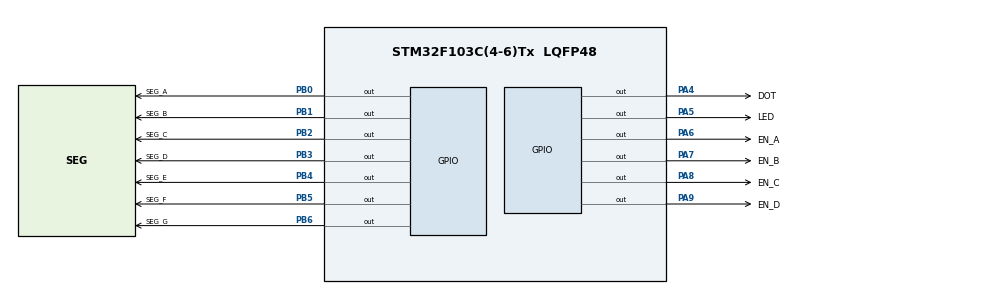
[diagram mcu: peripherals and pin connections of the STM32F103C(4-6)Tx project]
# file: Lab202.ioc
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Mcu.Family=STM32F1
Mcu.Name=STM32F103C(4-6)Tx
Mcu.Package=LQFP48
NVIC.PriorityGroup=NVIC_PRIORITYGROUP_4
NVIC.TIM2_IRQn=true\:0\:0\:false\:false\:true\:true\:true\:true
PA4.GPIO_Label=DOT
PA4.Signal=GPIO_Output
PA5.GPIO_Label=LED
PA5.Signal=GPIO_Output
PA6.GPIO_Label=EN_A
PA6.Signal=GPIO_Output
PA7.GPIO_Label=EN_B
PA7.Signal=GPIO_Output
PA8.GPIO_Label=EN_C
PA8.Signal=GPIO_Output
PA9.GPIO_Label=EN_D
PA9.Signal=GPIO_Output
PB0.GPIO_Label=SEG_A
PB0.Signal=GPIO_Output
PB1.GPIO_Label=SEG_B
PB1.Signal=GPIO_Output
PB2.GPIO_Label=SEG_C
PB2.Signal=GPIO_Output
PB3.GPIO_Label=SEG_D
PB3.Signal=GPIO_Output
PB4.GPIO_Label=SEG_E
PB4.Signal=GPIO_Output
PB5.GPIO_Label=SEG_F
PB5.Signal=GPIO_Output
PB6.GPIO_Label=SEG_G
PB6.Signal=GPIO_Output
ProjectManager.HeapSize=0x200
ProjectManager.StackSize=0x400
ProjectManager.TargetToolchain=STM32CubeIDE
RCC.APB1Freq_Value=8000000
RCC.APB2Freq_Value=8000000
TIM2.Period=2
TIM2.Prescaler=7999
VP_TIM2_VS_ClockSourceINT.Mode=Internal
board=custom

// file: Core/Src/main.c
/* USER CODE BEGIN Header */
/**
  ******************************************************************************
  * @file           : main.c
  * @brief          : Main program body
  ******************************************************************************
  * @attention
  *
  * Copyright (c) 2022 STMicroelectronics.
  * All rights reserved.
  *
  * This software is licensed under terms that can be found in the LICENSE file
  * in the root directory of this software component.
  * If no LICENSE file comes with this software, it is provided AS-IS.
  *
  ******************************************************************************
  */
/* USER CODE END Header */
#include "main.h"
#include "7seg.h"

TIM_HandleTypeDef htim2;

void SystemClock_Config(void);
static void MX_GPIO_Init(void);
static void MX_TIM2_Init(void);

/* USER CODE BEGIN 0 */
void HAL_TIM_PeriodElapsedCallback(TIM_HandleTypeDef *htim);

typedef enum State {One, Two, Three, Four} EState;
void tswitch (EState state) {
	if (state == One) {
		HAL_GPIO_WritePin(EN_A_GPIO_Port,EN_A_Pin, 0);
		HAL_GPIO_WritePin(EN_B_GPIO_Port, EN_B_Pin, 1);
		HAL_GPIO_WritePin(EN_C_GPIO_Port, EN_C_Pin, 1);
		HAL_GPIO_WritePin(EN_D_GPIO_Port, EN_D_Pin, 1);
	}
	if (state == Two){
		HAL_GPIO_WritePin(EN_A_GPIO_Port, EN_A_Pin, 1);
		HAL_GPIO_WritePin(EN_B_GPIO_Port, EN_B_Pin, 0);
		HAL_GPIO_WritePin(EN_D_GPIO_Port, EN_C_Pin, 1);
		HAL_GPIO_WritePin(EN_D_GPIO_Port, EN_D_Pin, 1);
	}
	if (state == Three){
			HAL_GPIO_WritePin(EN_A_GPIO_Port, EN_A_Pin, 1);
			HAL_GPIO_WritePin(EN_B_GPIO_Port, EN_B_Pin, 1);
			HAL_GPIO_WritePin(EN_D_GPIO_Port, EN_C_Pin, 0);
			HAL_GPIO_WritePin(EN_D_GPIO_Port, EN_D_Pin, 1);
		}
	if (state == Four){
			HAL_GPIO_WritePin(EN_A_GPIO_Port, EN_A_Pin, 1);
			HAL_GPIO_WritePin(EN_B_GPIO_Port, EN_B_Pin, 1);
			HAL_GPIO_WritePin(EN_D_GPIO_Port, EN_C_Pin, 1);
			HAL_GPIO_WritePin(EN_D_GPIO_Port, EN_D_Pin, 0);
		}
}

/* USER CODE END 0 */

int main(void)
{

  /* MCU Configuration--------------------------------------------------------*/

  /* Reset of all peripherals, Initializes the Flash interface and the Systick. */
  HAL_Init();

  /* Configure the system clock */
  SystemClock_Config();

  /* Initialize all configured peripherals */
  MX_GPIO_Init();
  MX_TIM2_Init();
  HAL_TIM_Base_Start_IT (& htim2 );
  /* Infinite loop */
  while (1)
  {
	  HAL_GPIO_TogglePin(DOT_GPIO_Port, DOT_Pin);
	  HAL_Delay(1000);
  }
}

void SystemClock_Config(void)
{
  RCC_OscInitTypeDef RCC_OscInitStruct = {0};
  RCC_ClkInitTypeDef RCC_ClkInitStruct = {0};

  /** Initializes the RCC Oscillators according to the specified parameters
  * in the RCC_OscInitTypeDef structure.
  */
  RCC_OscInitStruct.OscillatorType = RCC_OSCILLATORTYPE_HSI;
  RCC_OscInitStruct.HSIState = RCC_HSI_ON;
  RCC_OscInitStruct.HSICalibrationValue = RCC_HSICALIBRATION_DEFAULT;
  RCC_OscInitStruct.PLL.PLLState = RCC_PLL_NONE;
  if (HAL_RCC_OscConfig(&RCC_OscInitStruct) != HAL_OK)
  {
    Error_Handler();
  }

  /** Initializes the CPU, AHB and APB buses clocks
  */
  RCC_ClkInitStruct.ClockType = RCC_CLOCKTYPE_HCLK|RCC_CLOCKTYPE_SYSCLK
                              |RCC_CLOCKTYPE_PCLK1|RCC_CLOCKTYPE_PCLK2;
  RCC_ClkInitStruct.SYSCLKSource = RCC_SYSCLKSOURCE_HSI;
  RCC_ClkInitStruct.AHBCLKDivider = RCC_SYSCLK_DIV1;
  RCC_ClkInitStruct.APB1CLKDivider = RCC_HCLK_DIV1;
  RCC_ClkInitStruct.APB2CLKDivider = RCC_HCLK_DIV1;

  if (HAL_RCC_ClockConfig(&RCC_ClkInitStruct, FLASH_LATENCY_0) != HAL_OK)
  {
    Error_Handler();
  }
}

static void MX_TIM2_Init(void)
{

  TIM_ClockConfigTypeDef sClockSourceConfig = {0};
  TIM_MasterConfigTypeDef sMasterConfig = {0};

  htim2.Instance = TIM2;
  htim2.Init.Prescaler = 7999;
  htim2.Init.CounterMode = TIM_COUNTERMODE_UP;
  htim2.Init.Period = 2;
  htim2.Init.ClockDivision = TIM_CLOCKDIVISION_DIV1;
  htim2.Init.AutoReloadPreload = TIM_AUTORELOAD_PRELOAD_DISABLE;
  if (HAL_TIM_Base_Init(&htim2) != HAL_OK)
  {
    Error_Handler();
  }
  sClockSourceConfig.ClockSource = TIM_CLOCKSOURCE_INTERNAL;
  if (HAL_TIM_ConfigClockSource(&htim2, &sClockSourceConfig) != HAL_OK)
  {
    Error_Handler();
  }
  sMasterConfig.MasterOutputTrigger = TIM_TRGO_RESET;
  sMasterConfig.MasterSlaveMode = TIM_MASTERSLAVEMODE_DISABLE;
  if (HAL_TIMEx_MasterConfigSynchronization(&htim2, &sMasterConfig) != HAL_OK)
  {
    Error_Handler();
  }

}

static void MX_GPIO_Init(void)
{
  GPIO_InitTypeDef GPIO_InitStruct = {0};

  /* GPIO Ports Clock Enable */
  __HAL_RCC_GPIOA_CLK_ENABLE();
  __HAL_RCC_GPIOB_CLK_ENABLE();

  /*Configure GPIO pin Output Level */
  HAL_GPIO_WritePin(GPIOA, DOT_Pin|LED_Pin|EN_A_Pin|EN_B_Pin
                          |EN_C_Pin|EN_D_Pin, GPIO_PIN_RESET);

  /*Configure GPIO pin Output Level */
  HAL_GPIO_WritePin(GPIOB, SEG_A_Pin|SEG_B_Pin|SEG_C_Pin|SEG_D_Pin
                          |SEG_E_Pin|SEG_F_Pin|SEG_G_Pin, GPIO_PIN_RESET);

  /*Configure GPIO pins : DOT_Pin LED_Pin EN_A_Pin EN_B_Pin
                           EN_C_Pin EN_D_Pin */
  GPIO_InitStruct.Pin = DOT_Pin|LED_Pin|EN_A_Pin|EN_B_Pin
                          |EN_C_Pin|EN_D_Pin;
  GPIO_InitStruct.Mode = GPIO_MODE_OUTPUT_PP;
  GPIO_InitStruct.Pull = GPIO_NOPULL;
  GPIO_InitStruct.Speed = GPIO_SPEED_FREQ_LOW;
  HAL_GPIO_Init(GPIOA, &GPIO_InitStruct);

  /*Configure GPIO pins : SEG_A_Pin SEG_B_Pin SEG_C_Pin SEG_D_Pin
                           SEG_E_Pin SEG_F_Pin SEG_G_Pin */
  GPIO_InitStruct.Pin = SEG_A_Pin|SEG_B_Pin|SEG_C_Pin|SEG_D_Pin
                          |SEG_E_Pin|SEG_F_Pin|SEG_G_Pin;
  GPIO_InitStruct.Mode = GPIO_MODE_OUTPUT_PP;
  GPIO_InitStruct.Pull = GPIO_NOPULL;
  GPIO_InitStruct.Speed = GPIO_SPEED_FREQ_LOW;
  HAL_GPIO_Init(GPIOB, &GPIO_InitStruct);

}

/* USER CODE BEGIN 4 */
int counter = 50;
int n_LedStatus= One;
void HAL_TIM_PeriodElapsedCallback(TIM_HandleTypeDef *htim){
	if (counter > 0) {
		counter-=1;
	}
	if (counter == 0) {
		switch(n_LedStatus) {
		case One:
			tswitch(One);
			Display7Seg(1);
			n_LedStatus = Two;
			break;
		case Two:
			tswitch(Two);
			Display7Seg(2);
			n_LedStatus = Three;
			break;
		case Three:
			tswitch(Three);
			Display7Seg(3);
			n_LedStatus = Four;
			break;
		case Four:
			tswitch(Four);
			Display7Seg(0);
			n_LedStatus = One;
			break;
		default:
			n_LedStatus = One;
			break;
		}
		counter = 50;
	}
}
/* USER CODE END 4 */

void Error_Handler(void)
{
  __disable_irq();
  while (1)
  {
  }
}
